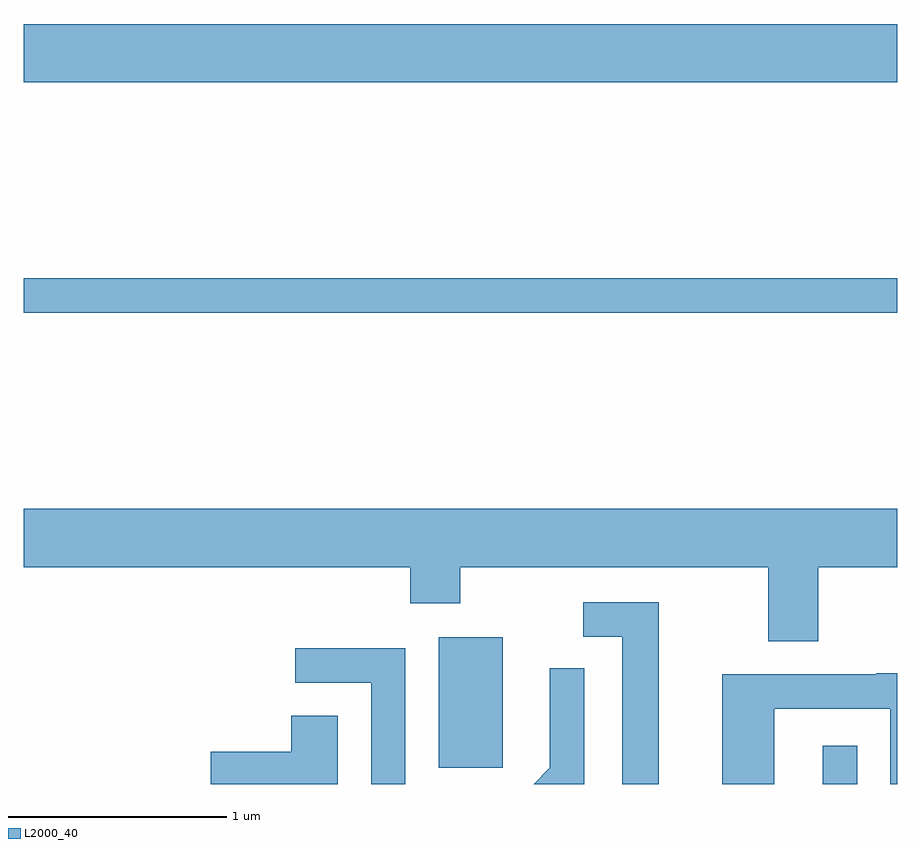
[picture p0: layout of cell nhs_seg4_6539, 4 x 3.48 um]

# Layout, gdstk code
import gdstk
lib = gdstk.Library(unit=1e-6, precision=1e-09)
def R(c, l, rs):  # rectangles x0, y0, x1, y1
    for r in rs: c.add(gdstk.rectangle(r[:2], r[2:], *l))
def P(c, l, *ps):  # polygons
    for p in ps: c.add(gdstk.Polygon(p, *l))
L2000_40 = (2000, 40)

nhs_seg4_6539 = lib.new_cell('nhs_seg4_6539')
R(nhs_seg4_6539, L2000_40, [(381.271,1275.982,381.429,1276.158), (379.511,1276.056,379.804,1276.654), (377.611,1278.141,381.611,1278.299), (377.611,1279.196,381.611,1279.464)])
P(nhs_seg4_6539, L2000_40, [(381.249,1276.976),(381.611,1276.976),(381.611,1277.244),(377.611,1277.244),(377.611,1276.976),(379.381,1276.976),(379.381,1276.811),(379.609,1276.811),(379.609,1276.976),(381.021,1276.976),(381.021,1276.636),(381.249,1276.636)],
  [(380.519,1276.814),(380.173,1276.814),(380.173,1276.656),(380.351,1276.656),(380.351,1275.982),(380.519,1275.982)],
  [(379.359,1276.604),(378.853,1276.604),(378.853,1276.446),(379.201,1276.446),(379.201,1275.982),(379.359,1275.982)],
  [(380.179,1275.984),(380.179,1276.513),(380.021,1276.513),(380.021,1276.057),(379.946,1275.982),(380.177,1275.982)],
  [(381.049,1276.326),(381.581,1276.326),(381.581,1275.982),(381.611,1275.982),(381.611,1276.489),(381.515,1276.489),(381.515,1276.484),(380.811,1276.484),(380.811,1275.982),(381.049,1275.982)],
  [(379.049,1276.294),(378.836,1276.294),(378.836,1276.129),(378.466,1276.129),(378.466,1275.982),(379.049,1275.982)])

lib.write_gds('nhs_seg4_6539.gds')
